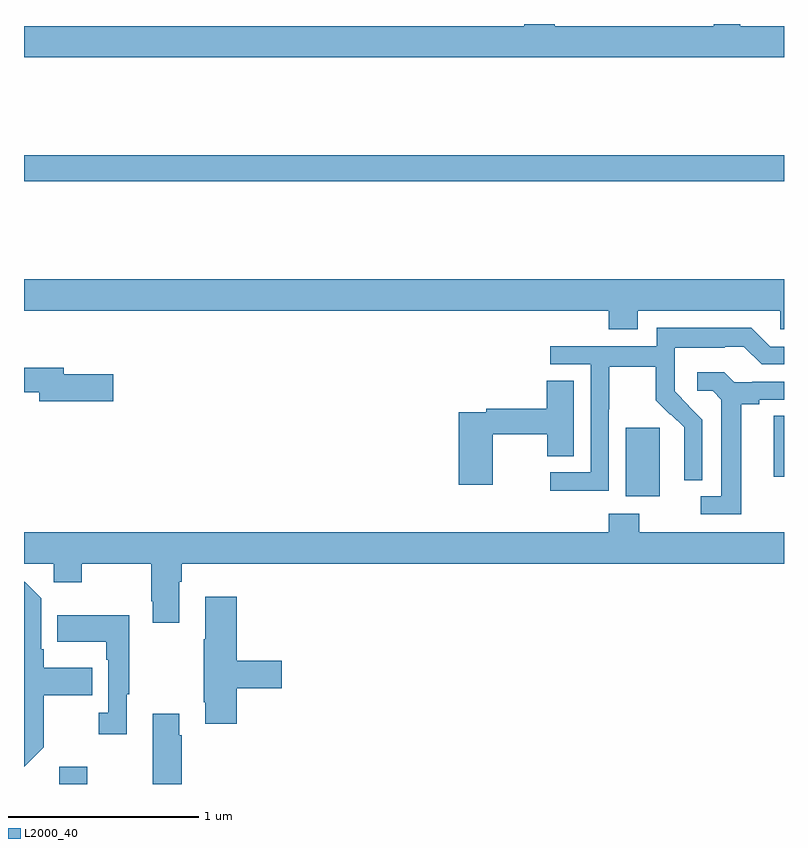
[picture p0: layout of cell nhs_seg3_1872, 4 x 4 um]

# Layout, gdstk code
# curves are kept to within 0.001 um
import gdstk
lib = gdstk.Library(unit=1e-6, precision=1e-09)
def R(c, l, rs):  # rectangles x0, y0, x1, y1
    for r in rs: c.add(gdstk.rectangle(r[:2], r[2:], *l))
def P(c, l, *ps):  # polygons
    for p in ps: c.add(gdstk.Polygon(p, *l))
L2000_40 = (2000, 40)

nhs_seg3_1872 = lib.new_cell('nhs_seg3_1872')
R(nhs_seg3_1872, L2000_40, [(207.185,722.4,207.333,722.491), (210.167,723.914,210.346,724.275), (210.947,724.017,211,724.337), (207,725.572,211,725.708)])
P(nhs_seg3_1872, L2000_40, [(211,726.388),(210.769,726.388),(210.769,726.4),(210.629,726.4),(210.629,726.388),(209.793,726.388),(209.793,726.4),(209.633,726.4),(209.633,726.388),(207,726.388),(207,726.224),(211,726.224)],
  [(210.229,724.892),(210.981,724.892),(210.981,724.794),(211,724.794),(211,725.056),(207,725.056),(207,724.892),(210.077,724.892),(210.077,724.793),(210.229,724.793)],
  [(210.078,724.372),(210.081,724.372),(210.081,724.596),(210.325,724.596),(210.325,724.421),(210.402,724.344),(210.405,724.347),(210.476,724.277),(210.476,724.154),(210.474,724.154),(210.474,724),(210.57,724),(210.57,724.318),(210.424,724.466),(210.424,724.563),(210.426,724.563),(210.426,724.697),(210.689,724.697),(210.689,724.701),(210.789,724.701),(210.882,724.608),(211,724.608),(211,724.701),(210.927,724.701),(210.827,724.801),(210.33,724.801),(210.33,724.704),(209.769,724.704),(209.769,724.608),(209.982,724.608),(209.982,724.041),(209.769,724.041),(209.769,723.943),(210.078,723.943)],
  [(207.469,724.557),(207.208,724.557),(207.208,724.591),(207,724.591),(207,724.462),(207.08,724.462),(207.08,724.415),(207.469,724.415)],
  [(210.775,724.4),(210.871,724.4),(210.871,724.422),(211,724.422),(211,724.518),(210.832,724.518),(210.832,724.515),(210.738,724.515),(210.686,724.567),(210.543,724.567),(210.543,724.47),(210.624,724.47),(210.671,724.423),(210.671,723.915),(210.561,723.915),(210.561,723.819),(210.775,723.819)],
  [(209.466,724.24),(209.755,724.24),(209.755,724.126),(209.893,724.126),(209.893,724.523),(209.75,724.523),(209.75,724.376),(209.434,724.376),(209.434,724.356),(209.288,724.356),(209.288,723.975),(209.466,723.975)],
  [(207.817,723.464),(207.83,723.464),(207.83,723.56),(211,723.56),(211,723.724),(210.237,723.724),(210.237,723.823),(210.077,723.823),(210.077,723.724),(207,723.724),(207,723.56),(207.156,723.56),(207.156,723.461),(207.303,723.461),(207.303,723.56),(207.67,723.56),(207.67,723.361),(207.677,723.361),(207.677,723.249),(207.817,723.249)],
  [(207.103,722.593),(207.103,722.866),(207.359,722.866),(207.359,723.013),(207.103,723.013),(207.103,723.109),(207.09,723.109),(207.09,723.378),(207.003,723.465),(207,723.465),(207,722.49)],
  [(208.121,722.903),(208.357,722.903),(208.357,723.05),(208.121,723.05),(208.121,723.385),(207.953,723.385),(207.953,723.161),(207.946,723.161),(207.946,722.83),(207.953,722.83),(207.953,722.718),(208.121,722.718)],
  [(207.541,722.873),(207.553,722.873),(207.553,723.289),(207.175,723.289),(207.175,723.149),(207.432,723.149),(207.432,723.053),(207.444,723.053),(207.444,722.774),(207.393,722.774),(207.393,722.661),(207.541,722.661)],
  [(207.83,722.657),(207.817,722.657),(207.817,722.77),(207.677,722.77),(207.677,722.4),(207.83,722.4)])

lib.write_gds('nhs_seg3_1872.gds')
